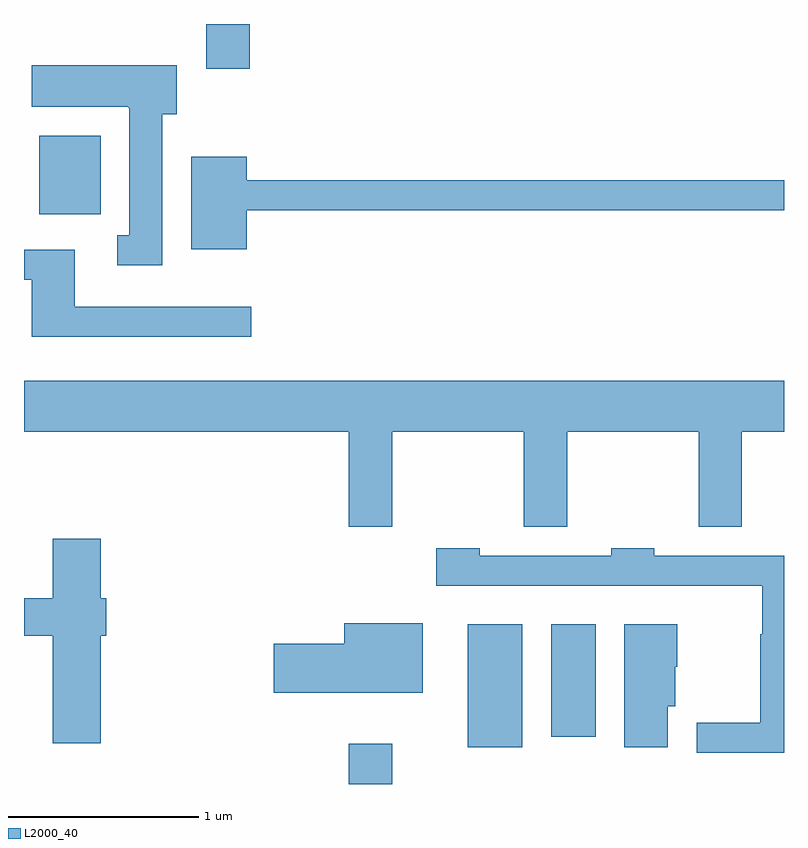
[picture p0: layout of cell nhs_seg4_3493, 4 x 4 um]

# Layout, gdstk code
import gdstk
lib = gdstk.Library(unit=1e-6, precision=1e-09)
def R(c, l, rs):  # rectangles x0, y0, x1, y1
    for r in rs: c.add(gdstk.rectangle(r[:2], r[2:], *l))
def P(c, l, *ps):  # polygons
    for p in ps: c.add(gdstk.Polygon(p, *l))
L2000_40 = (2000, 40)

nhs_seg4_3493 = lib.new_cell('nhs_seg4_3493')
R(nhs_seg4_3493, L2000_40, [(289.321,1303.982,289.549,1304.194), (289.946,1304.176,290.234,1304.824), (290.386,1304.231,290.619,1304.824), (287.691,1306.981,288.014,1307.394), (288.571,1307.746,288.799,1307.982)])
P(nhs_seg4_3493, L2000_40, [(288.339,1307.506),(288.414,1307.506),(288.414,1307.764),(287.651,1307.764),(287.651,1307.546),(288.16,1307.546),(288.16,1307.54),(288.166,1307.54),(288.166,1306.869),(288.103,1306.869),(288.103,1306.711),(288.339,1306.711)],
  [(288.784,1307.001),(291.611,1307.001),(291.611,1307.159),(288.784,1307.159),(288.784,1307.284),(288.491,1307.284),(288.491,1306.796),(288.784,1306.796)],
  [(288.808,1306.494),(287.879,1306.494),(287.879,1306.794),(287.611,1306.794),(287.611,1306.636),(287.651,1306.636),(287.651,1306.336),(288.808,1306.336)],
  [(289.549,1305.836),(290.241,1305.836),(290.241,1305.336),(290.469,1305.336),(290.469,1305.836),(291.161,1305.836),(291.161,1305.336),(291.389,1305.336),(291.389,1305.836),(291.611,1305.836),(291.611,1306.104),(287.611,1306.104),(287.611,1305.836),(289.321,1305.836),(289.321,1305.336),(289.549,1305.336)],
  [(288.014,1304.761),(288.044,1304.761),(288.044,1304.959),(288.014,1304.959),(288.014,1305.274),(287.761,1305.274),(287.761,1304.959),(287.611,1304.959),(287.611,1304.761),(287.761,1304.761),(287.761,1304.196),(288.014,1304.196)],
  [(291.611,1305.184),(290.929,1305.184),(290.929,1305.224),(290.701,1305.224),(290.701,1305.184),(290.009,1305.184),(290.009,1305.224),(289.781,1305.224),(289.781,1305.026),(291.496,1305.026),(291.496,1304.77),(291.486,1304.77),(291.486,1304.304),(291.153,1304.304),(291.153,1304.146),(291.611,1304.146)],
  [(289.709,1304.829),(289.296,1304.829),(289.296,1304.719),(288.926,1304.719),(288.926,1304.461),(289.709,1304.461)],
  [(290.999,1304.391),(291.039,1304.391),(291.039,1304.6),(291.049,1304.6),(291.049,1304.824),(290.771,1304.824),(290.771,1304.176),(290.999,1304.176)])

lib.write_gds('nhs_seg4_3493.gds')
